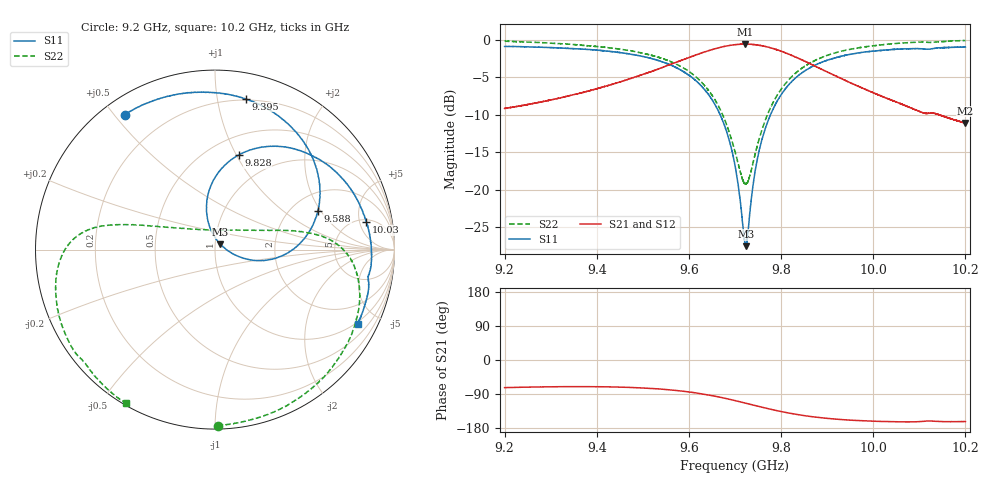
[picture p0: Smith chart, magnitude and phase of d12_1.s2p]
!Agilent Technologies,N5242A,MY51221714,A.09.90.19
!Agilent N5242A: A.09.90.19
!Date: Saturday, March 16, 2024 08:44:45
!Correction: S11(Full 2 Port(1,2))
!S21(Full 2 Port(1,2))
!S12(Full 2 Port(1,2))
!S22(Full 2 Port(1,2))
!S2P File: Measurements: S11, S21, S12, S22:
# Hz S  dB  R 50
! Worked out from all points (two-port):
!   16001 points, 9.2 GHz to 10.2 GHz, reference 50 ohm
!   highest |S21| = -0.56 dB at 9.722 GHz (marker M1); lowest = -11.1 dB at 10.2 GHz (marker M2)
!   |S21| within 3 dB of the highest: 9.548 GHz to 9.876 GHz (328 MHz wide, 3.38 % of centre)
!   lowest |S11| = -27.5 dB at 9.723 GHz (marker M3), VSWR 1.09, Z = 53 + j3.12 ohm
!   |S11| at or under -10 dB: 9.668 GHz to 9.777 GHz (109.1 MHz wide, 1.12 % of centre)
!   |S22| runs from -19.3 to -0.1 dB; largest |S21 - S12| = 0.009
!   S11 on the Smith chart (normalised r, x): 9.2 GHz: 0.07, +0.53; 9.395 GHz: 0.19, +1.20; 9.588 GHz: 2.72, +1.88; 9.828 GHz: 0.68, +1.02; 10.03 GHz: 5.45, +6.32; 10.2 GHz: 0.92, -3.87
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9.2e9  -0.88 123.7  -9.16 -72.9  -9.15 -73.3  -0.17 -89.2
9.279562e9  -0.99 106.0  -8.28 -71.1  -8.28 -71.4  -0.36 -67.0
9.366688e9  -1.23 85.6  -7.08 -70.3  -7.06 -70.6  -0.70 -43.5
9.39475e9  -1.33 78.6  -6.60 -70.3  -6.61 -70.8  -0.87 -36.2
9.461375e9  -1.80 61.0  -5.41 -71.9  -5.40 -72.3  -1.34 -20.2
9.533375e9  -2.75 39.6  -3.89 -76.2  -3.88 -76.6  -2.31 -4.9
9.588375e9  -4.27 20.8  -2.63 -82.6  -2.62 -83.0  -3.75 4.6
9.658438e9  -8.85 -6.4  -1.16 -96.0  -1.15 -96.3  -8.20 16.1
9.7e9  -16.73 -16.5  -0.65 -107.1  -0.63 -107.5  -14.93 36.9
9.722188e9  -27.23 34.4  -0.56 -113.7  -0.56 -114.1  -19.25 86.5
9.723375e9  -27.55 44.4  -0.57 -114.1  -0.55 -114.5  -19.28 90.1
9.744438e9  -17.26 103.5  -0.66 -120.4  -0.65 -120.9  -15.07 139.4
9.761812e9  -12.58 101.7  -0.83 -125.5  -0.82 -126.0  -11.42 152.9
9.7905e9  -8.30 91.4  -1.30 -133.5  -1.31 -134.0  -7.49 161.3
9.8275e9  -5.30 76.0  -2.19 -142.2  -2.18 -142.6  -4.65 166.4
9.866688e9  -3.60 60.6  -3.31 -149.6  -3.29 -149.9  -2.98 171.0
9.950438e9  -1.93 32.5  -5.73 -158.8  -5.73 -159.1  -1.26 -176.1
1.003106e10  -1.35 10.4  -7.85 -162.5  -7.84 -162.9  -0.58 -160.0
1.003338e10  -1.33 9.8  -7.90 -162.6  -7.89 -162.9  -0.56 -159.4
1.0107e10  -1.19 -8.0  -9.70 -162.2  -9.72 -162.6  -0.29 -143.3
1.019988e10  -0.96 -27.5  -11.11 -162.5  -11.11 -162.9  -0.09 -120.2
1.02e10  -0.95 -27.5  -11.10 -162.5  -11.10 -162.9  -0.08 -120.2
